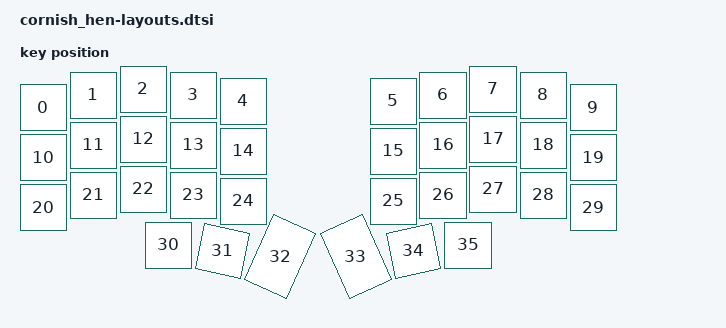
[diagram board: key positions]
#include <physical_layouts.dtsi>

/ {
    physical_layout_cornish_hen: physical_layout_cornish_hen {
        compatible = "zmk,physical-layout";
        display-name = "Cornish Hen";
        keys  //                     w   h    x    y     rot    rx    ry
            = <&key_physical_attrs 100  50    0(-10)       0     0     0>
            , <&key_physical_attrs 100  50  100(-10)       0     0     0>
            , <&key_physical_attrs 100  50  200(-10)       0     0     0>
            , <&key_physical_attrs 100  50  300(-10)       0     0     0>
            , <&key_physical_attrs 100  50  400(-10)       0     0     0>
            , <&key_physical_attrs 100  50  700(-10)       0     0     0>
            , <&key_physical_attrs 100  50  800(-10)       0     0     0>
            , <&key_physical_attrs 100  50  900(-10)       0     0     0>
            , <&key_physical_attrs 100  50 1000(-10)       0     0     0>
            , <&key_physical_attrs 100  50 1100(-10)       0     0     0>
            , <&key_physical_attrs 100 100    0   87       0     0     0>
            , <&key_physical_attrs 100 100  100   62       0     0     0>
            , <&key_physical_attrs 100 100  200   50       0     0     0>
            , <&key_physical_attrs 100 100  300   62       0     0     0>
            , <&key_physical_attrs 100 100  400   74       0     0     0>
            , <&key_physical_attrs 100 100  700   74       0     0     0>
            , <&key_physical_attrs 100 100  800   62       0     0     0>
            , <&key_physical_attrs 100 100  900   50       0     0     0>
            , <&key_physical_attrs 100 100 1000   62       0     0     0>
            , <&key_physical_attrs 100 100 1100   87       0     0     0>
            , <&key_physical_attrs 100 100    0  187       0     0     0>
            , <&key_physical_attrs 100 100  100  162       0     0     0>
            , <&key_physical_attrs 100 100  200  150       0     0     0>
            , <&key_physical_attrs 100 100  300  162       0     0     0>
            , <&key_physical_attrs 100 100  400  174       0     0     0>
            , <&key_physical_attrs 100 100  700  174       0     0     0>
            , <&key_physical_attrs 100 100  800  162       0     0     0>
            , <&key_physical_attrs 100 100  900  150       0     0     0>
            , <&key_physical_attrs 100 100 1000  162       0     0     0>
            , <&key_physical_attrs 100 100 1100  187       0     0     0>
            , <&key_physical_attrs 100 100    0  287       0     0     0>
            , <&key_physical_attrs 100 100  100  262       0     0     0>
            , <&key_physical_attrs 100 100  200  250       0     0     0>
            , <&key_physical_attrs 100 100  300  262       0     0     0>
            , <&key_physical_attrs 100 100  400  274       0     0     0>
            , <&key_physical_attrs 100 100  700  274       0     0     0>
            , <&key_physical_attrs 100 100  800  262       0     0     0>
            , <&key_physical_attrs 100 100  900  250       0     0     0>
            , <&key_physical_attrs 100 100 1000  262       0     0     0>
            , <&key_physical_attrs 100 100 1100  287       0     0     0>
            , <&key_physical_attrs 100 100  250  362       0     0     0>
            , <&key_physical_attrs 100 100  350  362    1200   350   462>
            , <&key_physical_attrs 100 150  448  333    2400   448   483>
            , <&key_physical_attrs 100 150  652  333 (-2400)   752   483>
            , <&key_physical_attrs 100 100  750  362 (-1200)   850   462>
            , <&key_physical_attrs 100 100  850  362       0     0     0>
            ;
    };
};
